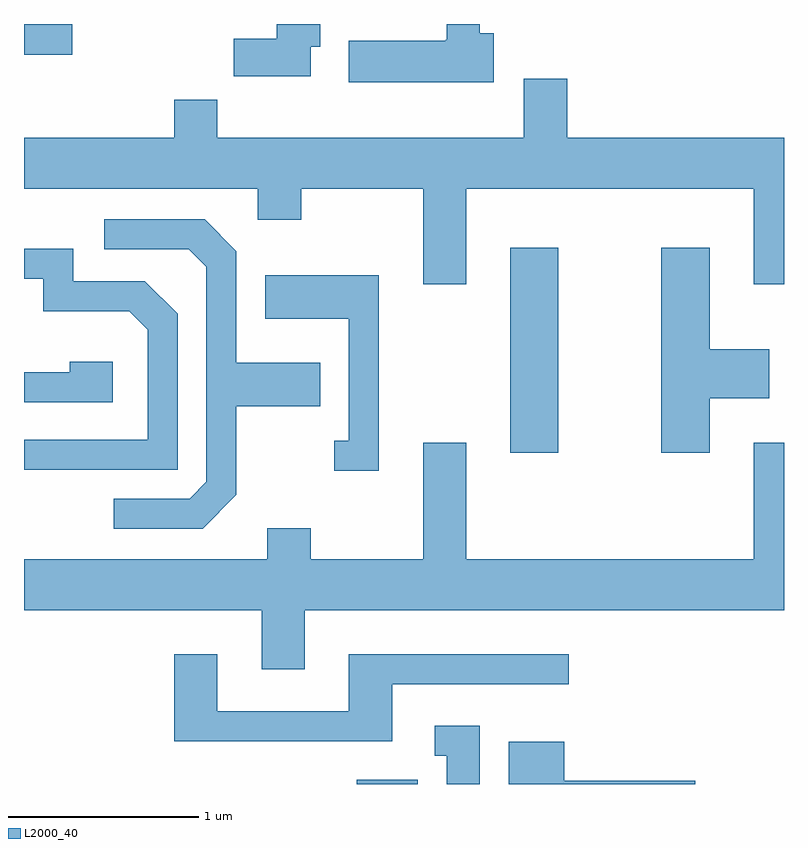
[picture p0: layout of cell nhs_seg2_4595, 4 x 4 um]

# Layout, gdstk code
import gdstk
lib = gdstk.Library(unit=1e-6, precision=1e-09)
def R(c, l, rs):  # rectangles x0, y0, x1, y1
    for r in rs: c.add(gdstk.rectangle(r[:2], r[2:], *l))
def P(c, l, *ps):  # polygons
    for p in ps: c.add(gdstk.Polygon(p, *l))
L2000_40 = (2000, 40)

nhs_seg2_4595 = lib.new_cell('nhs_seg2_4595')
R(nhs_seg2_4595, L2000_40, [(321.361,1091.802,321.684,1091.824), (322.171,1093.546,322.424,1094.624), (319.611,1095.641,319.864,1095.802)])
P(nhs_seg2_4595, L2000_40, [(322.084,1095.754),(322.009,1095.754),(322.009,1095.802),(321.836,1095.802),(321.836,1095.72),(321.83,1095.72),(321.83,1095.714),(321.321,1095.714),(321.321,1095.496),(322.084,1095.496)],
  [(321.119,1095.681),(321.169,1095.681),(321.169,1095.802),(320.941,1095.802),(320.941,1095.724),(320.716,1095.724),(320.716,1095.526),(321.119,1095.526)],
  [(321.939,1094.936),(323.451,1094.936),(323.451,1094.431),(323.611,1094.431),(323.611,1095.204),(322.469,1095.204),(322.469,1095.514),(322.241,1095.514),(322.241,1095.204),(320.629,1095.204),(320.629,1095.404),(320.401,1095.404),(320.401,1095.204),(319.611,1095.204),(319.611,1094.936),(320.841,1094.936),(320.841,1094.771),(321.069,1094.771),(321.069,1094.936),(321.711,1094.936),(321.711,1094.431),(321.939,1094.431)],
  [(320.729,1093.324),(320.729,1093.791),(321.169,1093.791),(321.169,1094.019),(320.729,1094.019),(320.729,1094.607),(320.562,1094.774),(320.033,1094.774),(320.033,1094.616),(320.479,1094.616),(320.571,1094.524),(320.571,1093.392),(320.484,1093.304),(320.083,1093.304),(320.083,1093.146),(320.552,1093.146)],
  [(323.219,1093.831),(323.534,1093.831),(323.534,1094.089),(323.219,1094.089),(323.219,1094.624),(322.966,1094.624),(322.966,1093.546),(323.219,1093.546)],
  [(320.419,1094.277),(320.247,1094.449),(319.869,1094.449),(319.869,1094.619),(319.611,1094.619),(319.611,1094.461),(319.711,1094.461),(319.711,1094.291),(320.164,1094.291),(320.261,1094.194),(320.261,1093.614),(319.611,1093.614),(319.611,1093.456),(320.419,1093.456)],
  [(321.479,1094.479),(320.881,1094.479),(320.881,1094.251),(321.321,1094.251),(321.321,1093.609),(321.243,1093.609),(321.243,1093.451),(321.479,1093.451)],
  [(320.079,1094.024),(319.851,1094.024),(319.851,1093.969),(319.611,1093.969),(319.611,1093.811),(320.079,1093.811)],
  [(321.089,1092.716),(323.611,1092.716),(323.611,1093.599),(323.451,1093.599),(323.451,1092.984),(321.939,1092.984),(321.939,1093.599),(321.711,1093.599),(321.711,1092.984),(321.119,1092.984),(321.119,1093.149),(320.891,1093.149),(320.891,1092.984),(319.611,1092.984),(319.611,1092.716),(320.861,1092.716),(320.861,1092.406),(321.089,1092.406)],
  [(321.549,1092.326),(322.478,1092.326),(322.478,1092.484),(321.321,1092.484),(321.321,1092.184),(320.629,1092.184),(320.629,1092.484),(320.401,1092.484),(320.401,1092.026),(321.549,1092.026)],
  [(322.009,1092.109),(321.773,1092.109),(321.773,1091.951),(321.836,1091.951),(321.836,1091.802),(322.009,1091.802)],
  [(323.144,1091.819),(322.454,1091.819),(322.454,1092.024),(322.161,1092.024),(322.161,1091.802),(323.144,1091.802)])

lib.write_gds('nhs_seg2_4595.gds')
